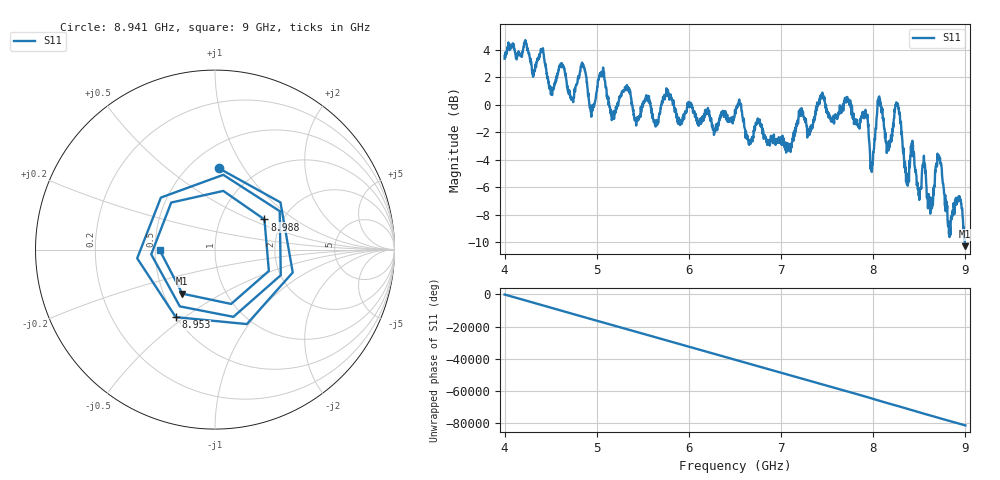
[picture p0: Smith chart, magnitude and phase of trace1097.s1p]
! Created with skrf 1.8.0 (http://scikit-rf.org).
# Hz S RI R 50.0
!freq ReS11 ImS11
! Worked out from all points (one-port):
!   1601 points, 4 GHz to 9 GHz, reference 50 ohm
!   lowest |S11| = -10.3 dB at 8.997 GHz (marker M1), VSWR 1.88, Z = 31.1 - j16.8 ohm
!   |S11| at or under -10 dB: 8.99384 GHz to end of sweep
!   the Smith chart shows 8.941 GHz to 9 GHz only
!   S11 on the Smith chart (normalised r, x): 8.941 GHz: 0.69, +0.78; 8.953 GHz: 0.50, -0.46; 8.988 GHz: 1.62, +0.61; 9 GHz: 0.53, -0.00
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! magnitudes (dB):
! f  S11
! 4 GHz  3.3
! 4.625 GHz  2.8
! 4.731 GHz  0.4
! 4.853 GHz  2.9
! 4.944 GHz  -0.1
! 5.053 GHz  2.3
! 5.162 GHz  -1.1
! 5.25 GHz  0.5
! 5.875 GHz  -1.2
! 6.5 GHz  -0.4
! 7.125 GHz  -2.5
! 7.447 GHz  0.9
! 7.75 GHz  0.3
! 7.922 GHz  -0.8
! 7.984 GHz  -4.9
! 8.062 GHz  0.6
! 8.159 GHz  -2.8
! 8.262 GHz  0.0
! 8.375 GHz  -5.9
! 8.425 GHz  -2.6
! 8.619 GHz  -7.9
! 8.716 GHz  -3.8
! 8.822 GHz  -9.4
! 8.941 GHz  -6.9
! 8.953 GHz  -7.2
! 8.988 GHz  -9.8
! 8.997 GHz  -10.3
! 9 GHz  -10.2
